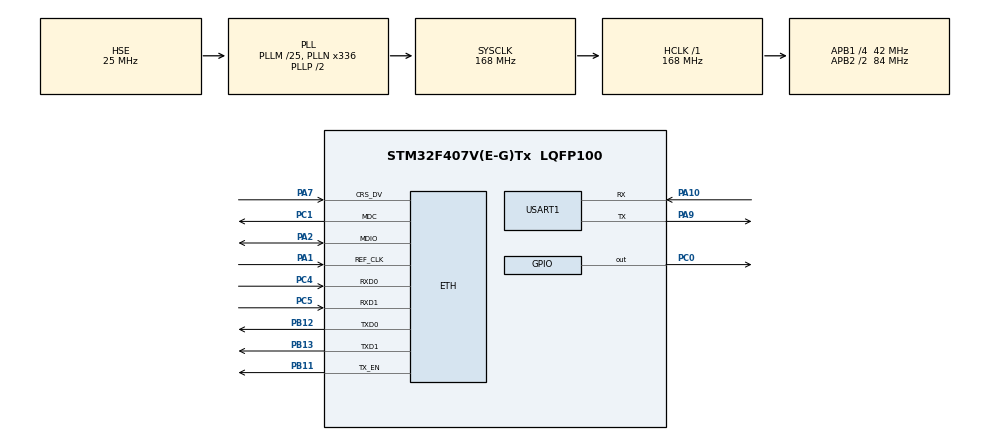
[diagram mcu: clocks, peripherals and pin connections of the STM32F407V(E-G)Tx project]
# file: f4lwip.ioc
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ETH.MediaInterface=HAL_ETH_RMII_MODE
FREERTOS.Tasks01=defaultTask,24,256,StartDefaultTask,Default,NULL,Dynamic,NULL,NULL
LWIP.BSP.number=1
LWIP.GATEWAY_ADDRESS=192.168.000.001
LWIP.HTTPD_DEBUG=LWIP_DBG_ON
LWIP.HTTPD_USE_CUSTOM_FSDATA=1
LWIP.IP_ADDRESS=192.168.000.007
LWIP.LWIP_DHCP=0
LWIP.LWIP_HTTPD=1
LWIP.LWIP_HTTPD_CGI=1
LWIP.LWIP_HTTPD_DYNAMIC_FILE_READ=1
LWIP.LWIP_HTTPD_SSI=1
LWIP.MEM_SIZE=16*1024
LWIP.NETMASK_ADDRESS=255.255.255.000
LWIP.TCP_DEBUG=LWIP_DBG_ON
LWIP.Version=v2.1.2_Cube
LWIP0.BSP.STBoard=false
LWIP0.BSP.api=BSP_COMPONENT_DRIVER
LWIP0.BSP.component=LAN8742
LWIP0.BSP.instance=LAN8742
LWIP0.BSP.name=Driver_PHY
LWIP0.BSP.semaphore=S_LAN8742
LWIP0.BSP.solution=LAN8742
Mcu.Family=STM32F4
Mcu.Name=STM32F407V(E-G)Tx
Mcu.Package=LQFP100
NVIC.ETH_IRQn=true\:5\:0\:false\:false\:true\:true\:false\:true\:true
NVIC.PriorityGroup=NVIC_PRIORITYGROUP_4
NVIC.TIM4_IRQn=true\:15\:0\:false\:false\:true\:false\:false\:true\:true
NVIC.TimeBase=TIM4_IRQn
NVIC.TimeBaseIP=TIM4
PA1.Mode=RMII
PA1.Signal=ETH_REF_CLK
PA10.Mode=Asynchronous
PA10.Signal=USART1_RX
PA2.Mode=RMII
PA2.Signal=ETH_MDIO
PA7.Mode=RMII
PA7.Signal=ETH_CRS_DV
PA9.Mode=Asynchronous
PA9.Signal=USART1_TX
PB11.Mode=RMII
PB11.Signal=ETH_TX_EN
PB12.Mode=RMII
PB12.Signal=ETH_TXD0
PB13.Mode=RMII
PB13.Signal=ETH_TXD1
PC0.GPIO_Speed=GPIO_SPEED_FREQ_VERY_HIGH
PC0.PinState=GPIO_PIN_SET
PC0.Signal=GPIO_Output
PC1.Mode=RMII
PC1.Signal=ETH_MDC
PC14-OSC32_IN.Mode=LSE-External-Oscillator
PC14-OSC32_IN.Signal=RCC_OSC32_IN
PC15-OSC32_OUT.Mode=LSE-External-Oscillator
PC15-OSC32_OUT.Signal=RCC_OSC32_OUT
PC4.Mode=RMII
PC4.Signal=ETH_RXD0
PC5.Mode=RMII
PC5.Signal=ETH_RXD1
PH0-OSC_IN.Mode=HSE-External-Oscillator
PH0-OSC_IN.Signal=RCC_OSC_IN
PH1-OSC_OUT.Mode=HSE-External-Oscillator
PH1-OSC_OUT.Signal=RCC_OSC_OUT
ProjectManager.HeapSize=0x400
ProjectManager.StackSize=0x400
ProjectManager.TargetToolchain=MDK-ARM V5.32
RCC.48MHZClocksFreq_Value=48000000
RCC.AHBFreq_Value=168000000
RCC.APB1CLKDivider=RCC_HCLK_DIV4
RCC.APB1Freq_Value=42000000
RCC.APB1TimFreq_Value=84000000
RCC.APB2CLKDivider=RCC_HCLK_DIV2
RCC.APB2Freq_Value=84000000
RCC.APB2TimFreq_Value=168000000
RCC.CortexFreq_Value=168000000
RCC.HCLKFreq_Value=168000000
RCC.HSE_VALUE=25000000
RCC.HSI_VALUE=16000000
RCC.PLLM=25
RCC.PLLN=336
RCC.PLLQ=7
RCC.PLLSourceVirtual=RCC_PLLSOURCE_HSE
RCC.SYSCLKFreq_VALUE=168000000
RCC.SYSCLKSource=RCC_SYSCLKSOURCE_PLLCLK
RCC.VCOOutputFreq_Value=336000000
USART1.VirtualMode=VM_ASYNC
VP_FREERTOS_VS_CMSIS_V2.Mode=CMSIS_V2
VP_LWIP_VS_Enabled.Mode=Enabled
VP_SYS_VS_tim4.Mode=TIM4
board=custom

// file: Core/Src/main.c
/* USER CODE BEGIN Header */
/**
  ******************************************************************************
  * @file           : main.c
  * @brief          : Main program body
  ******************************************************************************
  * @attention
  *
  * Copyright (c) 2025 STMicroelectronics.
  * All rights reserved.
  *
  * This software is licensed under terms that can be found in the LICENSE file
  * in the root directory of this software component.
  * If no LICENSE file comes with this software, it is provided AS-IS.
  *
  ******************************************************************************
  */
/* USER CODE END Header */
#include "main.h"
#include "cmsis_os.h"
#include "lwip.h"
#include "usart.h"
#include "gpio.h"

void SystemClock_Config(void);
void MX_FREERTOS_Init(void);

/* USER CODE BEGIN 0 */
extern struct netif gnetif;
void LAN8720A_Reset(void) {
    HAL_GPIO_WritePin(GPIOC, GPIO_PIN_0, GPIO_PIN_RESET); // ��λ�͵�ƽ
    HAL_Delay(50);                                       // ��ʱ
    HAL_GPIO_WritePin(GPIOC, GPIO_PIN_0, GPIO_PIN_SET);  // ��λ���
    HAL_Delay(50);                                       // ��ʱ�ȴ��ȶ�
}
void Reset_USB_VPC(void)
{
	__HAL_RCC_GPIOA_CLK_ENABLE();
	__HAL_RCC_GPIOB_CLK_ENABLE();

	GPIO_InitTypeDef GPIO_InitStruct = {0};
	HAL_GPIO_WritePin(GPIOA, GPIO_PIN_7|GPIO_PIN_6, GPIO_PIN_RESET);
	HAL_GPIO_WritePin(GPIOB, GPIO_PIN_7|GPIO_PIN_6, GPIO_PIN_RESET);
	GPIO_InitStruct.Pin = GPIO_PIN_7|GPIO_PIN_6;
  GPIO_InitStruct.Mode = GPIO_MODE_OUTPUT_PP;
  GPIO_InitStruct.Pull = GPIO_NOPULL;
  GPIO_InitStruct.Speed = GPIO_SPEED_FREQ_VERY_HIGH;
  HAL_GPIO_Init(GPIOA, &GPIO_InitStruct);

	GPIO_InitStruct.Pin = GPIO_PIN_7|GPIO_PIN_6;
  GPIO_InitStruct.Mode = GPIO_MODE_OUTPUT_PP;
  GPIO_InitStruct.Pull = GPIO_NOPULL;
  GPIO_InitStruct.Speed = GPIO_SPEED_FREQ_VERY_HIGH;
  HAL_GPIO_Init(GPIOB, &GPIO_InitStruct);

	HAL_Delay(50);
}

/* USER CODE END 0 */

int main(void)
{

  /* MCU Configuration--------------------------------------------------------*/

  /* Reset of all peripherals, Initializes the Flash interface and the Systick. */
  HAL_Init();

  /* Configure the system clock */
  SystemClock_Config();

  /* USER CODE BEGIN SysInit */
//	Reset_USB_VPC();
  /* USER CODE END SysInit */

  /* Initialize all configured peripherals */
  MX_GPIO_Init();
  MX_USART1_UART_Init();
  /* USER CODE BEGIN 2 */
//	MX_USB_DEVICE_Init();
	HAL_Delay(1000);
//	LAN8720A_Reset();
// httpd_init();
  /* USER CODE END 2 */

  /* Init scheduler */
  osKernelInitialize();

  /* Call init function for freertos objects (in cmsis_os2.c) */
  MX_FREERTOS_Init();

  /* Start scheduler */
  osKernelStart();

  /* We should never get here as control is now taken by the scheduler */

  /* Infinite loop */
  /* USER CODE BEGIN WHILE */
  while (1)
  {
//		printf("asfa\r\n");
//		usb_printf("123");
// 		MX_LWIP_Process();
//		ethernetif_input(&gnetif); // ������̫������
//        sys_check_timeouts();
    /* USER CODE END WHILE */

  }
}

void SystemClock_Config(void)
{
  RCC_OscInitTypeDef RCC_OscInitStruct = {0};
  RCC_ClkInitTypeDef RCC_ClkInitStruct = {0};

  /** Configure the main internal regulator output voltage
  */
  __HAL_RCC_PWR_CLK_ENABLE();
  __HAL_PWR_VOLTAGESCALING_CONFIG(PWR_REGULATOR_VOLTAGE_SCALE1);

  /** Initializes the RCC Oscillators according to the specified parameters
  * in the RCC_OscInitTypeDef structure.
  */
  RCC_OscInitStruct.OscillatorType = RCC_OSCILLATORTYPE_HSE;
  RCC_OscInitStruct.HSEState = RCC_HSE_ON;
  RCC_OscInitStruct.PLL.PLLState = RCC_PLL_ON;
  RCC_OscInitStruct.PLL.PLLSource = RCC_PLLSOURCE_HSE;
  RCC_OscInitStruct.PLL.PLLM = 25;
  RCC_OscInitStruct.PLL.PLLN = 336;
  RCC_OscInitStruct.PLL.PLLP = RCC_PLLP_DIV2;
  RCC_OscInitStruct.PLL.PLLQ = 7;
  if (HAL_RCC_OscConfig(&RCC_OscInitStruct) != HAL_OK)
  {
    Error_Handler();
  }

  /** Initializes the CPU, AHB and APB buses clocks
  */
  RCC_ClkInitStruct.ClockType = RCC_CLOCKTYPE_HCLK|RCC_CLOCKTYPE_SYSCLK
                              |RCC_CLOCKTYPE_PCLK1|RCC_CLOCKTYPE_PCLK2;
  RCC_ClkInitStruct.SYSCLKSource = RCC_SYSCLKSOURCE_PLLCLK;
  RCC_ClkInitStruct.AHBCLKDivider = RCC_SYSCLK_DIV1;
  RCC_ClkInitStruct.APB1CLKDivider = RCC_HCLK_DIV4;
  RCC_ClkInitStruct.APB2CLKDivider = RCC_HCLK_DIV2;

  if (HAL_RCC_ClockConfig(&RCC_ClkInitStruct, FLASH_LATENCY_5) != HAL_OK)
  {
    Error_Handler();
  }
}

void HAL_TIM_PeriodElapsedCallback(TIM_HandleTypeDef *htim)
{
  if (htim->Instance == TIM4)
  {
    HAL_IncTick();
  }
}

void Error_Handler(void)
{
  __disable_irq();
  while (1)
  {
  }
}

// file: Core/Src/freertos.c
/* USER CODE BEGIN Header */
/**
  ******************************************************************************
  * File Name          : freertos.c
  * Description        : Code for freertos applications
  ******************************************************************************
  * @attention
  *
  * Copyright (c) 2025 STMicroelectronics.
  * All rights reserved.
  *
  * This software is licensed under terms that can be found in the LICENSE file
  * in the root directory of this software component.
  * If no LICENSE file comes with this software, it is provided AS-IS.
  *
  ******************************************************************************
  */
/* USER CODE END Header */

#include "FreeRTOS.h"
#include "task.h"
#include "main.h"
#include "cmsis_os.h"

/* USER CODE BEGIN Includes */
#include "httpd_cgi_ssi.h"

/* USER CODE END Includes */

/* Definitions for defaultTask */
osThreadId_t defaultTaskHandle;
const osThreadAttr_t defaultTask_attributes = {
  .name = "defaultTask",
  .stack_size = 256 * 4,
  .priority = (osPriority_t) osPriorityNormal,
};

void StartDefaultTask(void *argument);

extern void MX_LWIP_Init(void);
void MX_FREERTOS_Init(void); /* (MISRA C 2004 rule 8.1) */

void MX_FREERTOS_Init(void) {

  /* Create the thread(s) */
  /* creation of defaultTask */
  defaultTaskHandle = osThreadNew(StartDefaultTask, NULL, &defaultTask_attributes);

}

void StartDefaultTask(void *argument)
{
  /* init code for LWIP */
  MX_LWIP_Init();
  /* USER CODE BEGIN StartDefaultTask */
//	lwip_tcp_server_demo();
	httpd_init();
//	httpd_ssi_init();
//	httpd_cgi_init();
  /* Infinite loop */
  for(;;)
  {
    osDelay(1);
  }
  /* USER CODE END StartDefaultTask */
}
